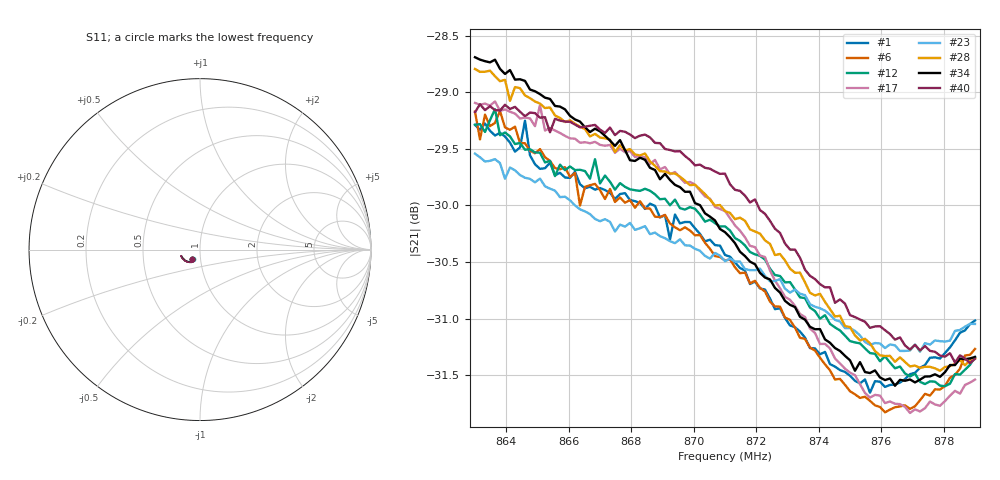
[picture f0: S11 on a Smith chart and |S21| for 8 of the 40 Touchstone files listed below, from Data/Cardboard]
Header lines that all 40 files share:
# HZ S RI R 50
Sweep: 863 MHz to 879 MHz
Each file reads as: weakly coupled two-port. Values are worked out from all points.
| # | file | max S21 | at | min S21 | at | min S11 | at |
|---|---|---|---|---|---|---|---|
| 1 | co16s6.s2p | -29.25 dB | 864.6 MHz | -31.7 dB | 875.64 MHz | -23.6 dB | 865.08 MHz |
| 2 | co16s7.s2p | -29.31 dB | 863 MHz | -31.6 dB | 875.96 MHz | -23.3 dB | 865.24 MHz |
| 3 | co16s8.s2p | -29.37 dB | 863 MHz | -31.7 dB | 875.48 MHz | -23.4 dB | 864.44 MHz |
| 4 | co16s11.s2p | -29.40 dB | 863.16 MHz | -31.7 dB | 875.8 MHz | -23.4 dB | 865.72 MHz |
| 5 | co16s12.s2p | -29.30 dB | 863.16 MHz | -31.6 dB | 876.28 MHz | -23.5 dB | 865.24 MHz |
| 6 | co17s0.s2p | -29.17 dB | 863.8 MHz | -31.8 dB | 876.12 MHz | -23.5 dB | 865.4 MHz |
| 7 | co17s1.s2p | -29.37 dB | 865.08 MHz | -31.6 dB | 876.92 MHz | -24.3 dB | 865.08 MHz |
| 8 | co17s2.s2p | -29.33 dB | 863 MHz | -31.7 dB | 875.16 MHz | -23.6 dB | 865.24 MHz |
| 9 | co17s3.s2p | -29.33 dB | 863 MHz | -31.4 dB | 875.64 MHz | -23.4 dB | 865.24 MHz |
| 10 | co17s6.s2p | -29.19 dB | 863 MHz | -31.5 dB | 876.6 MHz | -23.4 dB | 865.4 MHz |
| 11 | co17s7.s2p | -29.26 dB | 863.16 MHz | -31.2 dB | 876.92 MHz | -23.4 dB | 865.24 MHz |
| 12 | co17s8.s2p | -29.15 dB | 863.64 MHz | -31.6 dB | 878.04 MHz | -23.5 dB | 865.24 MHz |
| 13 | co17s9.s2p | -29.43 dB | 863 MHz | -31.2 dB | 876.44 MHz | -23.7 dB | 865.88 MHz |
| 14 | co17s10.s2p | -29.42 dB | 863.16 MHz | -31.3 dB | 876.12 MHz | -23.6 dB | 865.56 MHz |
| 15 | co18s0.s2p | -29.30 dB | 863.16 MHz | -31.5 dB | 876.44 MHz | -23.3 dB | 865.08 MHz |
| 16 | co18s1.s2p | -29.26 dB | 864.12 MHz | -32.0 dB | 877.24 MHz | -23.4 dB | 864.12 MHz |
| 17 | co18s2.s2p | -29.08 dB | 863.64 MHz | -31.8 dB | 876.92 MHz | -23.5 dB | 865.08 MHz |
| 18 | co18s3.s2p | -29.50 dB | 863 MHz | -31.3 dB | 877.24 MHz | -23.7 dB | 865.08 MHz |
| 19 | co18s4.s2p | -29.35 dB | 863 MHz | -31.5 dB | 876.76 MHz | -23.5 dB | 864.92 MHz |
| 20 | co18s5.s2p | -29.32 dB | 863 MHz | -31.5 dB | 876.92 MHz | -23.3 dB | 865.08 MHz |
| 21 | co18s6.s2p | -28.94 dB | 863.16 MHz | -31.6 dB | 877.88 MHz | -23.4 dB | 864.44 MHz |
| 22 | co18s9.s2p | -29.20 dB | 863 MHz | -31.6 dB | 877.24 MHz | -23.4 dB | 864.92 MHz |
| 23 | co19s0.s2p | -29.54 dB | 863 MHz | -31.3 dB | 877.24 MHz | -23.5 dB | 865.24 MHz |
| 24 | co19s2.s2p | -28.98 dB | 863 MHz | -31.3 dB | 877.88 MHz | -23.6 dB | 864.44 MHz |
| 25 | co19s4.s2p | -28.83 dB | 863 MHz | -31.5 dB | 878.52 MHz | -23.6 dB | 865.24 MHz |
| 26 | co19s5.s2p | -28.82 dB | 863.32 MHz | -31.5 dB | 876.92 MHz | -23.6 dB | 865.56 MHz |
| 27 | co19s6.s2p | -28.83 dB | 863 MHz | -31.4 dB | 876.6 MHz | -23.9 dB | 865.56 MHz |
| 28 | co19s7.s2p | -28.79 dB | 863 MHz | -31.5 dB | 877.88 MHz | -23.6 dB | 865.4 MHz |
| 29 | co19s9.s2p | -28.91 dB | 863.32 MHz | -31.8 dB | 877.08 MHz | -23.5 dB | 865.4 MHz |
| 30 | co20s1.s2p | -28.63 dB | 863 MHz | -31.8 dB | 877.72 MHz | -23.6 dB | 865.56 MHz |
| 31 | co20s2.s2p | -28.86 dB | 863.16 MHz | -31.6 dB | 876.92 MHz | -23.6 dB | 864.44 MHz |
| 32 | co20s3.s2p | -28.94 dB | 863.32 MHz | -31.8 dB | 878.04 MHz | -23.7 dB | 865.24 MHz |
| 33 | co20s4.s2p | -28.66 dB | 863 MHz | -31.8 dB | 877.88 MHz | -23.6 dB | 865.24 MHz |
| 34 | co20s6.s2p | -28.69 dB | 863 MHz | -31.6 dB | 876.44 MHz | -23.6 dB | 865.88 MHz |
| 35 | co20s7.s2p | -28.71 dB | 863 MHz | -31.3 dB | 877.24 MHz | -23.5 dB | 864.44 MHz |
| 36 | co20s8.s2p | -29.01 dB | 863.96 MHz | -30.8 dB | 878.68 MHz | -23.8 dB | 864.76 MHz |
| 37 | co21s0.s2p | -28.91 dB | 863.16 MHz | -31.2 dB | 877.88 MHz | -23.6 dB | 864.44 MHz |
| 38 | co21s1.s2p | -28.87 dB | 863.64 MHz | -31.6 dB | 877.88 MHz | -23.6 dB | 865.08 MHz |
| 39 | co21s2.s2p | -28.69 dB | 864.6 MHz | -31.3 dB | 877.88 MHz | -23.7 dB | 864.44 MHz |
| 40 | co21s3.s2p | -29.11 dB | 863.16 MHz | -31.4 dB | 878.84 MHz | -23.7 dB | 865.24 MHz |
